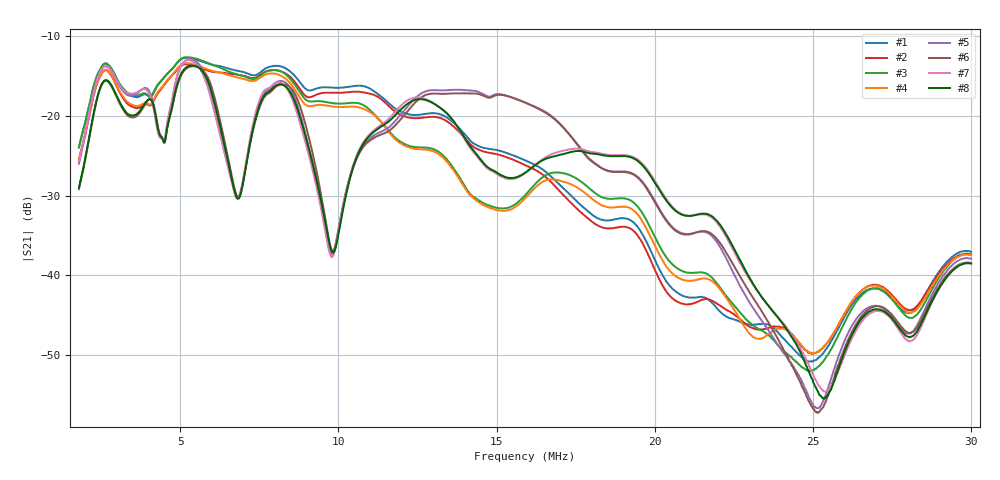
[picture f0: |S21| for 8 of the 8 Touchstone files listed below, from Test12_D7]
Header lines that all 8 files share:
!Agilent Technologies,E5061B,MY49101568,A.02.00
!Data & Calibration Information:
!Freq	S11:SOLT2(OFF)	S21:SOLT2(OFF)	S12:SOLT2(OFF)	S22:SOLT2(OFF)
# Hz S dB R 50
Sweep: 1.8 MHz to 30 MHz
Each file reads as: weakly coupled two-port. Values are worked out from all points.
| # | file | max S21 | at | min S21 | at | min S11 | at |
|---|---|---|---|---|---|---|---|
| 1 | CASE6.S2P | -12.71 dB | 5.197 MHz | -50.9 dB | 24.97 MHz | -36.6 dB | 16.71 MHz |
| 2 | CASE7.S2P | -13.51 dB | 5.197 MHz | -49.9 dB | 24.97 MHz | -35.8 dB | 16.68 MHz |
| 3 | CASE8.S2P | -12.65 dB | 5.221 MHz | -52.0 dB | 24.92 MHz | -38.7 dB | 12.89 MHz |
| 4 | CASE9.S2P | -13.40 dB | 5.197 MHz | -49.8 dB | 25.01 MHz | -36.9 dB | 12.89 MHz |
| 5 | CASE16.S2P | -12.89 dB | 5.294 MHz | -56.7 dB | 25.14 MHz | -54.3 dB | 14.95 MHz |
| 6 | CASE17.S2P | -13.77 dB | 5.417 MHz | -57.3 dB | 25.14 MHz | -52.3 dB | 14.85 MHz |
| 7 | CASE18.S2P | -13.00 dB | 5.27 MHz | -54.6 dB | 25.38 MHz | -27.7 dB | 28.39 MHz |
| 8 | CASE19.S2P | -13.69 dB | 5.392 MHz | -55.5 dB | 25.33 MHz | -28.4 dB | 5.197 MHz |
